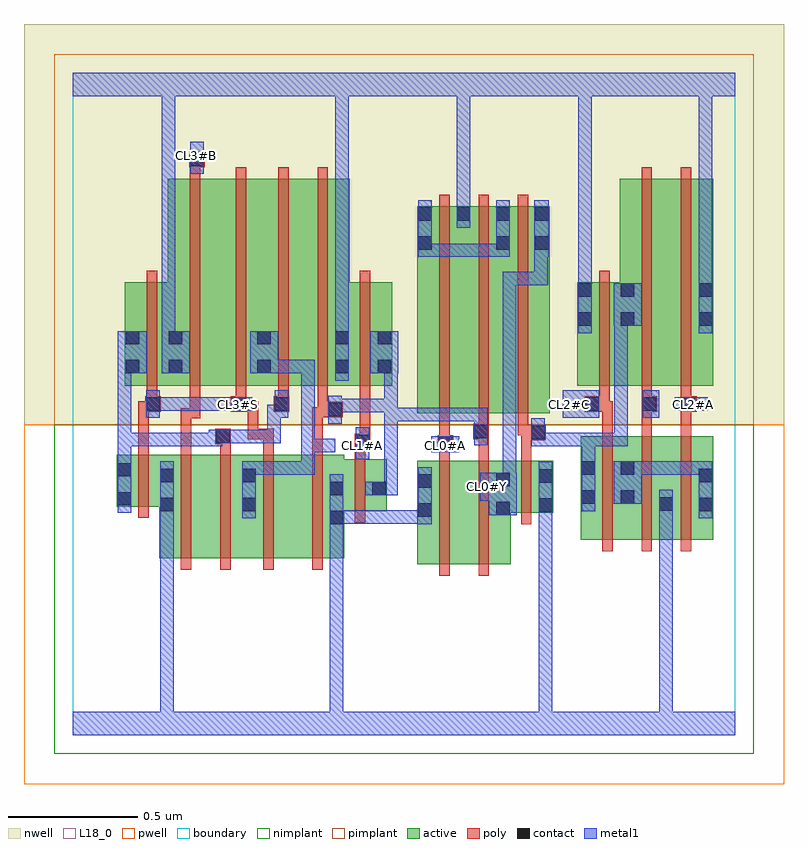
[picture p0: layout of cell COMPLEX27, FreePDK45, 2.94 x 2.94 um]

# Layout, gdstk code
import gdstk
lib = gdstk.Library(unit=1e-6, precision=1e-09)
def R(c, l, rs):  # rectangles x0, y0, x1, y1
    for r in rs: c.add(gdstk.rectangle(r[:2], r[2:], *l))
def A(c, l, x, y, w, h, nx, ny, dx, dy):  # array of equal rectangles
    R(c, l, [(x+i*dx, y+j*dy, x+i*dx+w, y+j*dy+h) for i in range(nx) for j in range(ny)])
active = (1, 0)
pwell = (2, 0)
nwell = (3, 0)
nimplant = (4, 0)
pimplant = (5, 0)
poly = (9, 0)
contact = (10, 0)
metal1 = (11, 0)
L18_0 = (18, 0)
boundary = (235, 0)

complex27 = lib.new_cell('COMPLEX27')
R(complex27, active, [(1.332,0.66,1.392,1.06), (1.332,0.66,1.512,1.06), (1.512,0.66,1.692,1.06), (0.334,0.684,0.394,1.084), (0.334,0.684,0.514,1.084), (0.514,0.684,0.712,1.084), (0.652,0.684,0.87,1.084), (0.652,0.684,0.712,1.034), (0.87,0.684,1.05,1.084), (0.99,0.684,1.05,1.012), (1.962,0.756,2.022,1.156), (1.962,0.756,2.174,1.156), (2.114,0.756,2.174,1.156), (2.114,0.756,2.322,1.156), (2.262,0.756,2.322,1.156), (2.262,0.756,2.474,1.156), (2.414,0.756,2.474,1.156), (1.632,0.846,1.692,1.06), (1.632,0.86,1.856,1.06), (1.796,0.86,1.856,1.06), (0.99,0.866,1.214,1.066), (1.154,0.866,1.214,1.066), (0.17,0.884,0.23,1.084), (0.17,0.884,0.394,1.084), (1.332,1.244,1.392,2.044), (1.332,1.244,1.54,2.044), (1.48,1.244,1.692,2.044), (1.632,1.244,1.844,2.044), (1.784,1.244,1.844,2.044), (0.202,1.35,0.262,1.75), (0.202,1.35,0.428,1.75), (0.368,1.35,0.574,2.15), (0.574,1.35,0.77,2.15), (0.71,1.35,0.89,2.15), (0.89,1.35,1.07,2.15), (1.01,1.35,1.234,1.75), (1.01,1.35,1.07,2.15), (1.174,1.35,1.234,1.644), (1.95,1.35,2.01,1.75), (1.95,1.35,2.174,1.75), (2.114,1.35,2.174,1.75), (2.114,1.35,2.294,2.15), (2.294,1.35,2.474,2.15), (2.414,1.35,2.474,2.044), (0.71,1.36,0.77,2.044), (0.368,1.394,0.428,1.644), (1.48,1.686,1.54,2.044), (1.632,1.686,1.692,2.044)])
R(complex27, pwell, [(-0.188,-0.188,2.748,1.2)])
R(complex27, nwell, [(-0.188,1.2,2.748,2.748)])
R(complex27, nimplant, [(-0.072,-0.072,2.632,1.2)])
R(complex27, pimplant, [(-0.072,1.2,2.632,2.632)])
A(complex27, poly, 2.046, 0.712, 0.04, 0.488, 3, 1, 0.152, 0)
A(complex27, poly, 2.046, 1.16, 0.04, 0.13, 3, 1, 0.152, 0)
A(complex27, poly, 1.416, 1.2, 0.04, 0.888, 3, 1, 0.152, 0)
R(complex27, poly, [(1.416,0.616,1.456,1.104), (1.568,0.616,1.608,1.104), (0.418,0.64,0.458,1.128), (0.57,0.64,0.61,1.128), (0.736,0.64,0.776,1.128), (0.926,0.64,0.966,1.128), (1.732,0.816,1.772,1.104), (1.09,0.822,1.13,1.11), (0.254,0.84,0.294,1.128), (1.416,1.064,1.456,1.14), (1.568,1.064,1.608,1.184), (1.732,1.064,1.772,1.18), (1.09,1.07,1.13,1.146), (0.254,1.088,0.294,1.29), (0.418,1.088,0.458,1.264), (0.57,1.088,0.61,1.164), (0.736,1.088,0.776,1.184), (0.926,1.088,0.966,1.268), (1.41,1.1,1.47,1.16), (1.09,1.106,1.15,1.166), (1.416,1.12,1.456,1.16), (1.416,1.12,1.456,1.16), (1.416,1.12,1.456,1.24), (0.55,1.124,0.61,1.184), (1.11,1.126,1.15,1.166), (1.11,1.126,1.15,1.166), (1.11,1.126,1.15,1.346), (1.732,1.14,1.828,1.2), (0.676,1.144,0.716,1.184), (0.676,1.144,0.776,1.184), (0.676,1.144,0.716,1.29), (0.736,1.144,0.776,1.184), (1.548,1.144,1.608,1.204), (1.568,1.144,1.608,1.184), (1.568,1.144,1.608,1.184), (1.72,1.16,1.772,1.2), (1.72,1.16,1.76,1.24), (1.732,1.16,1.772,1.2), (1.568,1.164,1.608,1.24), (0.418,1.224,0.484,1.264), (0.444,1.224,0.484,1.264), (0.444,1.224,0.492,1.264), (0.452,1.224,0.492,1.346), (0.926,1.228,0.986,1.268), (0.946,1.228,0.986,1.268), (0.946,1.228,1.044,1.288), (0.946,1.248,0.986,1.346), (0.254,1.25,0.32,1.29), (0.28,1.25,0.32,1.29), (0.28,1.25,0.34,1.31), (0.61,1.25,0.67,1.31), (0.63,1.25,0.716,1.29), (0.676,1.25,0.716,1.29), (0.776,1.25,0.836,1.31), (1.978,1.25,2.074,1.31), (2.034,1.25,2.074,1.29), (2.034,1.25,2.086,1.29), (2.198,1.25,2.258,1.31), (2.35,1.25,2.41,1.31), (0.286,1.27,0.326,1.346), (0.63,1.27,0.67,1.346), (0.794,1.27,0.834,1.346), (2.034,1.27,2.074,1.346), (2.198,1.27,2.238,1.346), (2.198,1.27,2.238,1.31), (2.198,1.27,2.238,1.31), (2.35,1.27,2.39,1.346), (2.35,1.27,2.39,1.31), (2.35,1.27,2.39,1.31), (0.286,1.306,0.326,1.794), (0.452,1.306,0.492,2.194), (0.63,1.306,0.67,2.194), (0.794,1.306,0.834,2.194), (0.946,1.306,0.986,2.194), (1.11,1.306,1.15,1.794), (2.034,1.306,2.074,1.794), (2.198,1.306,2.238,2.194), (2.35,1.306,2.39,2.194), (0.452,2.154,0.492,2.234), (0.45,2.194,0.51,2.254)])
A(complex27, contact, 1.484, 1.988, 0.052, 0.052, 3, 1, 0.152, 0)
R(complex27, contact, [(0.994,0.816,1.046,0.868), (1.336,0.844,1.388,0.896), (1.636,0.85,1.688,0.902), (1.8,0.864,1.852,0.916), (0.338,0.866,0.39,0.918), (0.656,0.866,0.708,0.918), (2.418,0.866,2.47,0.918), (2.266,0.868,2.318,0.92), (0.174,0.888,0.226,0.94), (1.966,0.894,2.018,0.946), (2.118,0.894,2.17,0.946), (0.994,0.928,1.046,0.98), (1.158,0.928,1.21,0.98), (1.336,0.956,1.388,1.008), (1.636,0.962,1.688,1.014), (1.8,0.976,1.852,1.028), (0.338,0.978,0.39,1.03), (0.656,0.978,0.708,1.03), (2.418,0.978,2.47,1.03), (0.174,1,0.226,1.052), (1.966,1.006,2.018,1.058), (2.118,1.006,2.17,1.058), (1.414,1.104,1.466,1.156), (1.094,1.11,1.146,1.162), (0.554,1.128,0.606,1.18), (1.772,1.144,1.824,1.196), (1.552,1.148,1.604,1.2), (0.988,1.232,1.04,1.284), (0.284,1.254,0.336,1.306), (0.614,1.254,0.666,1.306), (0.78,1.254,0.832,1.306), (1.982,1.254,2.034,1.306), (2.202,1.254,2.254,1.306), (2.354,1.254,2.406,1.306), (0.206,1.398,0.258,1.45), (0.372,1.398,0.424,1.45), (0.714,1.398,0.766,1.45), (1.014,1.398,1.066,1.45), (1.178,1.398,1.23,1.45), (0.206,1.51,0.258,1.562), (0.372,1.51,0.424,1.562), (0.714,1.51,0.766,1.562), (1.014,1.51,1.066,1.562), (1.178,1.51,1.23,1.562), (1.954,1.582,2.006,1.634), (2.118,1.582,2.17,1.634), (2.418,1.582,2.47,1.634), (1.954,1.694,2.006,1.746), (2.118,1.694,2.17,1.746), (2.418,1.694,2.47,1.746), (1.336,1.876,1.388,1.928), (1.636,1.876,1.688,1.928), (1.788,1.876,1.84,1.928), (1.336,1.988,1.388,2.04), (0.454,2.198,0.506,2.25)])
R(complex27, metal1, [(0,0,2.56,0.092), (0.338,0.04,0.39,0.092), (0.338,0.04,0.39,0.092), (0.338,0.04,0.39,0.89), (0.994,0.04,1.046,0.092), (0.994,0.04,1.046,0.092), (0.994,0.04,1.046,0.092), (0.994,0.04,1.046,0.092), (0.994,0.04,1.046,0.092), (0.994,0.04,1.046,0.092), (0.994,0.04,1.046,0.092), (0.994,0.04,1.046,0.092), (0.994,0.04,1.046,0.092), (0.994,0.04,1.046,0.092), (0.994,0.04,1.046,0.092), (0.994,0.04,1.046,0.092), (0.994,0.04,1.046,0.84), (1.8,0.04,1.852,0.092), (1.8,0.04,1.852,0.092), (1.8,0.04,1.852,0.092), (1.8,0.04,1.852,0.092), (1.8,0.04,1.852,0.888), (2.266,0.04,2.318,0.092), (2.266,0.04,2.318,0.092), (2.266,0.04,2.318,0.892), (0.994,0.788,1.046,1.008), (1.336,0.816,1.388,1.036), (0.994,0.818,1.176,0.87), (1.124,0.818,1.176,0.87), (1.124,0.818,1.176,0.87), (1.124,0.818,1.176,0.87), (1.124,0.818,1.388,0.87), (1.8,0.836,1.852,0.888), (1.8,0.836,1.852,0.888), (1.8,0.836,1.852,0.888), (1.8,0.836,1.852,0.888), (1.8,0.836,1.852,0.888), (1.8,0.836,1.852,0.888), (1.8,0.836,1.852,0.888), (1.8,0.836,1.852,0.888), (1.8,0.836,1.852,0.888), (1.8,0.836,1.852,0.888), (1.8,0.836,1.852,0.888), (1.8,0.836,1.852,0.888), (1.8,0.836,1.852,1.056), (0.338,0.838,0.39,0.89), (0.338,0.838,0.39,0.89), (0.338,0.838,0.39,0.89), (0.338,0.838,0.39,0.89), (0.338,0.838,0.39,0.89), (0.338,0.838,0.39,0.89), (0.338,0.838,0.39,0.89), (0.338,0.838,0.39,0.89), (0.338,0.838,0.39,0.89), (0.338,0.838,0.39,0.89), (0.338,0.838,0.39,1.058), (0.656,0.838,0.708,1.058), (2.418,0.838,2.47,1.058), (2.266,0.84,2.318,0.892), (2.266,0.84,2.318,0.892), (2.266,0.84,2.318,0.892), (2.266,0.84,2.318,0.892), (2.266,0.84,2.318,0.892), (2.266,0.84,2.318,0.892), (2.266,0.84,2.318,0.892), (2.266,0.84,2.318,0.892), (2.266,0.84,2.318,0.892), (2.266,0.84,2.318,0.892), (2.266,0.84,2.318,0.948), (1.608,0.85,1.716,1.014), (0.174,0.86,0.226,1.08), (1.966,0.866,2.018,1.086), (2.09,0.894,2.198,1.058), (1.574,0.906,1.714,1.014), (1.13,0.928,1.256,0.98), (1.204,0.928,1.256,0.98), (1.204,0.928,1.256,0.98), (1.204,0.928,1.256,1.266), (1.662,0.962,1.714,1.014), (1.662,0.962,1.714,1.79), (0.656,1.006,0.804,1.058), (0.752,1.006,0.804,1.058), (0.752,1.006,0.936,1.058), (0.884,1.006,0.936,1.058), (0.884,1.006,0.936,1.146), (2.146,1.006,2.198,1.058), (2.146,1.006,2.198,1.058), (2.146,1.006,2.36,1.058), (2.308,1.006,2.36,1.058), (2.308,1.006,2.47,1.058), (2.418,1.006,2.47,1.058), (2.418,1.006,2.47,1.058), (0.174,1.028,0.226,1.168), (1.966,1.034,2.018,1.168), (1.094,1.066,1.146,1.19), (0.884,1.094,0.936,1.146), (0.884,1.094,0.936,1.146), (0.884,1.094,0.936,1.45), (0.884,1.094,1.014,1.146), (1.386,1.094,1.494,1.156), (0.174,1.116,0.226,1.168), (0.174,1.116,0.226,1.168), (0.174,1.116,0.226,1.168), (0.174,1.116,0.446,1.168), (0.174,1.116,0.226,1.45), (0.394,1.116,0.446,1.168), (0.394,1.116,0.446,1.168), (0.394,1.116,0.446,1.168), (0.394,1.116,0.578,1.168), (0.526,1.116,0.578,1.18), (1.772,1.116,1.824,1.168), (1.772,1.116,1.824,1.168), (1.772,1.116,1.824,1.224), (1.772,1.116,2.018,1.168), (1.966,1.116,2.018,1.168), (1.966,1.116,2.018,1.168), (1.966,1.116,2.018,1.168), (1.966,1.116,2.144,1.168), (2.092,1.116,2.144,1.168), (2.092,1.116,2.144,1.168), (2.092,1.116,2.144,1.168), (2.092,1.116,2.144,1.634), (1.552,1.12,1.604,1.266), (0.526,1.128,0.578,1.18), (0.526,1.128,0.634,1.18), (0.582,1.128,0.804,1.18), (0.752,1.128,0.804,1.18), (0.752,1.128,0.804,1.278), (0.988,1.204,1.04,1.312), (1.204,1.214,1.406,1.266), (1.204,1.214,1.256,1.3), (1.354,1.214,1.406,1.266), (1.354,1.214,1.406,1.266), (1.354,1.214,1.406,1.266), (1.354,1.214,1.516,1.266), (1.464,1.214,1.516,1.266), (1.464,1.214,1.604,1.266), (0.284,1.226,0.336,1.334), (0.752,1.226,0.804,1.278), (0.752,1.226,0.832,1.278), (0.78,1.226,0.832,1.334), (1.894,1.226,2.034,1.334), (2.202,1.226,2.266,1.334), (0.988,1.248,1.05,1.3), (0.998,1.248,1.05,1.3), (0.998,1.248,1.256,1.3), (1.204,1.248,1.256,1.3), (1.204,1.248,1.256,1.3), (1.204,1.248,1.256,1.45), (0.284,1.254,0.468,1.306), (0.416,1.254,0.468,1.306), (0.416,1.254,0.468,1.306), (0.416,1.254,0.468,1.306), (0.416,1.254,0.578,1.306), (0.526,1.254,0.578,1.306), (0.526,1.254,0.638,1.306), (0.586,1.254,0.694,1.306), (2.326,1.254,2.454,1.306), (1.014,1.37,1.066,1.59), (0.174,1.398,0.226,1.45), (0.174,1.398,0.226,1.45), (0.174,1.398,0.286,1.562), (0.344,1.398,0.452,1.562), (0.686,1.398,0.794,1.562), (0.742,1.398,0.804,1.45), (0.752,1.398,0.804,1.45), (0.752,1.398,0.936,1.45), (0.884,1.398,0.936,1.45), (1.15,1.398,1.258,1.562), (0.344,1.51,0.396,2.52), (1.014,1.538,1.066,2.52), (1.954,1.554,2.006,1.774), (2.418,1.554,2.47,1.774), (2.09,1.582,2.198,1.746), (1.954,1.722,2.006,2.52), (1.954,1.722,2.006,1.774), (1.954,1.722,2.006,1.774), (1.954,1.722,2.006,1.774), (1.954,1.722,2.006,1.774), (1.954,1.722,2.006,1.774), (1.954,1.722,2.006,1.774), (1.954,1.722,2.006,1.774), (1.954,1.722,2.006,1.774), (1.954,1.722,2.006,1.774), (1.954,1.722,2.006,1.774), (2.418,1.722,2.47,2.52), (2.418,1.722,2.47,1.774), (2.418,1.722,2.47,1.774), (2.418,1.722,2.47,1.774), (2.418,1.722,2.47,1.774), (2.418,1.722,2.47,1.774), (2.418,1.722,2.47,1.774), (1.662,1.738,1.714,1.79), (1.662,1.738,1.714,1.79), (1.662,1.738,1.714,1.79), (1.662,1.738,1.836,1.79), (1.784,1.738,1.836,1.79), (1.784,1.738,1.836,1.9), (1.336,1.848,1.388,1.9), (1.336,1.848,1.388,1.9), (1.336,1.848,1.388,2.068), (1.336,1.848,1.516,1.9), (1.464,1.848,1.516,1.9), (1.464,1.848,1.516,1.9), (1.464,1.848,1.516,1.9), (1.464,1.848,1.688,1.9), (1.636,1.848,1.688,2.068), (1.784,1.848,1.84,2.068), (1.484,1.96,1.536,2.068), (1.484,2.016,1.536,2.068), (1.484,2.016,1.536,2.068), (1.484,2.016,1.536,2.068), (1.484,2.016,1.536,2.068), (1.484,2.016,1.536,2.52), (0.454,2.17,0.506,2.294), (0,2.468,2.56,2.56), (0.344,2.468,0.396,2.52), (0.344,2.468,0.396,2.52), (0.344,2.468,0.396,2.52), (0.344,2.468,0.396,2.52), (0.344,2.468,0.396,2.52), (0.344,2.468,0.396,2.52), (0.344,2.468,0.396,2.52), (0.344,2.468,0.396,2.52), (1.014,2.468,1.066,2.52), (1.014,2.468,1.066,2.52), (1.014,2.468,1.066,2.52), (1.014,2.468,1.066,2.52), (1.014,2.468,1.066,2.52), (1.014,2.468,1.066,2.52), (1.014,2.468,1.066,2.52), (1.014,2.468,1.066,2.52), (1.484,2.468,1.536,2.52), (1.484,2.468,1.536,2.52), (1.484,2.468,1.536,2.52), (1.484,2.468,1.536,2.52), (1.954,2.468,2.006,2.52), (1.954,2.468,2.006,2.52), (1.954,2.468,2.006,2.52), (1.954,2.468,2.006,2.52), (1.954,2.468,2.006,2.52), (1.954,2.468,2.006,2.52), (2.418,2.468,2.47,2.52), (2.418,2.468,2.47,2.52)])
R(complex27, L18_0, [(0,0,2.56,0.092), (0.338,0.04,0.39,0.092), (0.338,0.04,0.39,0.092), (0.338,0.04,0.39,0.89), (0.994,0.04,1.046,0.092), (0.994,0.04,1.046,0.092), (0.994,0.04,1.046,0.092), (0.994,0.04,1.046,0.092), (0.994,0.04,1.046,0.092), (0.994,0.04,1.046,0.092), (0.994,0.04,1.046,0.092), (0.994,0.04,1.046,0.092), (0.994,0.04,1.046,0.092), (0.994,0.04,1.046,0.092), (0.994,0.04,1.046,0.092), (0.994,0.04,1.046,0.092), (0.994,0.04,1.046,0.84), (1.8,0.04,1.852,0.092), (1.8,0.04,1.852,0.092), (1.8,0.04,1.852,0.092), (1.8,0.04,1.852,0.092), (1.8,0.04,1.852,0.888), (2.266,0.04,2.318,0.092), (2.266,0.04,2.318,0.092), (2.266,0.04,2.318,0.892), (0.994,0.788,1.046,1.008), (1.336,0.816,1.388,1.036), (0.994,0.818,1.176,0.87), (1.124,0.818,1.176,0.87), (1.124,0.818,1.176,0.87), (1.124,0.818,1.176,0.87), (1.124,0.818,1.388,0.87), (1.8,0.836,1.852,0.888), (1.8,0.836,1.852,0.888), (1.8,0.836,1.852,0.888), (1.8,0.836,1.852,0.888), (1.8,0.836,1.852,0.888), (1.8,0.836,1.852,0.888), (1.8,0.836,1.852,0.888), (1.8,0.836,1.852,0.888), (1.8,0.836,1.852,0.888), (1.8,0.836,1.852,0.888), (1.8,0.836,1.852,0.888), (1.8,0.836,1.852,0.888), (1.8,0.836,1.852,1.056), (0.338,0.838,0.39,0.89), (0.338,0.838,0.39,0.89), (0.338,0.838,0.39,0.89), (0.338,0.838,0.39,0.89), (0.338,0.838,0.39,0.89), (0.338,0.838,0.39,0.89), (0.338,0.838,0.39,0.89), (0.338,0.838,0.39,0.89), (0.338,0.838,0.39,0.89), (0.338,0.838,0.39,0.89), (0.338,0.838,0.39,1.058), (0.656,0.838,0.708,1.058), (2.266,0.84,2.318,0.948), (2.266,0.84,2.318,0.892), (2.266,0.84,2.318,0.892), (2.266,0.84,2.318,0.892), (2.266,0.84,2.318,0.892), (2.266,0.84,2.318,0.892), (2.266,0.84,2.318,0.892), (2.266,0.84,2.318,0.892), (2.266,0.84,2.318,0.892), (2.266,0.84,2.318,0.892), (2.266,0.84,2.318,0.892), (1.608,0.85,1.716,1.014), (1.574,0.906,1.714,1.014), (1.574,0.934,1.626,0.986), (1.662,0.962,1.714,1.014), (1.662,0.962,1.714,1.79), (0.656,1.006,0.804,1.058), (0.752,1.006,0.804,1.058), (0.752,1.006,0.936,1.058), (0.884,1.006,0.936,1.058), (0.884,1.006,0.936,1.146), (1.094,1.066,1.146,1.19), (0.884,1.094,0.936,1.146), (0.884,1.094,0.936,1.146), (0.884,1.094,1.014,1.146), (0.884,1.094,0.936,1.45), (0.934,1.094,0.986,1.146), (1.094,1.094,1.146,1.146), (1.386,1.094,1.494,1.156), (1.414,1.094,1.466,1.146), (0.284,1.226,0.336,1.334), (1.894,1.226,2.034,1.334), (2.202,1.226,2.266,1.334), (0.284,1.254,0.468,1.306), (0.416,1.254,0.468,1.306), (0.416,1.254,0.468,1.306), (0.416,1.254,0.468,1.306), (0.416,1.254,0.578,1.306), (0.526,1.254,0.578,1.306), (0.526,1.254,0.638,1.306), (0.586,1.254,0.694,1.306), (0.614,1.254,0.666,1.306), (1.894,1.254,1.946,1.306), (2.214,1.254,2.266,1.306), (2.326,1.254,2.454,1.306), (2.374,1.254,2.426,1.306), (1.014,1.37,1.066,1.59), (0.344,1.398,0.452,1.562), (0.686,1.398,0.794,1.562), (0.742,1.398,0.804,1.45), (0.752,1.398,0.804,1.45), (0.752,1.398,0.936,1.45), (0.884,1.398,0.936,1.45), (0.344,1.51,0.396,2.52), (1.014,1.538,1.066,2.52), (1.954,1.554,2.006,1.774), (2.418,1.554,2.47,1.774), (1.954,1.722,2.006,1.774), (1.954,1.722,2.006,1.774), (1.954,1.722,2.006,1.774), (1.954,1.722,2.006,1.774), (1.954,1.722,2.006,1.774), (1.954,1.722,2.006,1.774), (1.954,1.722,2.006,1.774), (1.954,1.722,2.006,1.774), (1.954,1.722,2.006,1.774), (1.954,1.722,2.006,1.774), (1.954,1.722,2.006,2.52), (2.418,1.722,2.47,1.774), (2.418,1.722,2.47,1.774), (2.418,1.722,2.47,1.774), (2.418,1.722,2.47,1.774), (2.418,1.722,2.47,1.774), (2.418,1.722,2.47,1.774), (2.418,1.722,2.47,2.52), (1.662,1.738,1.714,1.79), (1.662,1.738,1.714,1.79), (1.662,1.738,1.714,1.79), (1.662,1.738,1.836,1.79), (1.784,1.738,1.836,1.79), (1.784,1.738,1.836,1.9), (1.784,1.848,1.84,2.068), (1.484,1.96,1.536,2.068), (1.484,2.016,1.536,2.068), (1.484,2.016,1.536,2.068), (1.484,2.016,1.536,2.068), (1.484,2.016,1.536,2.068), (1.484,2.016,1.536,2.52), (0.454,2.17,0.506,2.294), (0.454,2.214,0.506,2.266), (0,2.468,2.56,2.56), (0.344,2.468,0.396,2.52), (0.344,2.468,0.396,2.52), (0.344,2.468,0.396,2.52), (0.344,2.468,0.396,2.52), (0.344,2.468,0.396,2.52), (0.344,2.468,0.396,2.52), (0.344,2.468,0.396,2.52), (0.344,2.468,0.396,2.52), (1.014,2.468,1.066,2.52), (1.014,2.468,1.066,2.52), (1.014,2.468,1.066,2.52), (1.014,2.468,1.066,2.52), (1.014,2.468,1.066,2.52), (1.014,2.468,1.066,2.52), (1.014,2.468,1.066,2.52), (1.014,2.468,1.066,2.52), (1.484,2.468,1.536,2.52), (1.484,2.468,1.536,2.52), (1.484,2.468,1.536,2.52), (1.484,2.468,1.536,2.52), (1.954,2.468,2.006,2.52), (1.954,2.468,2.006,2.52), (1.954,2.468,2.006,2.52), (1.954,2.468,2.006,2.52), (1.954,2.468,2.006,2.52), (1.954,2.468,2.006,2.52), (2.418,2.468,2.47,2.52), (2.418,2.468,2.47,2.52)])
R(complex27, boundary, [(0,0,2.56,2.56)])
complex27.add(gdstk.Label('CL0#A', (1.44,1.12), layer=11, texttype=0))
complex27.add(gdstk.Label('CL0#Y', (1.6,0.96), layer=11, texttype=0))
complex27.add(gdstk.Label('CL1#A', (1.12,1.12), layer=11, texttype=0))
complex27.add(gdstk.Label('CL2#A', (2.4,1.28), layer=11, texttype=0))
complex27.add(gdstk.Label('CL2#B', (2.24,1.28), layer=11, texttype=0))
complex27.add(gdstk.Label('CL2#C', (1.92,1.28), layer=11, texttype=0))
complex27.add(gdstk.Label('CL3#B', (0.48,2.24), layer=11, texttype=0))
complex27.add(gdstk.Label('CL3#S', (0.64,1.28), layer=11, texttype=0))
complex27.add(gdstk.Label('CL3#Y', (0.96,1.12), layer=11, texttype=0))

lib.write_gds('COMPLEX27.gds')
